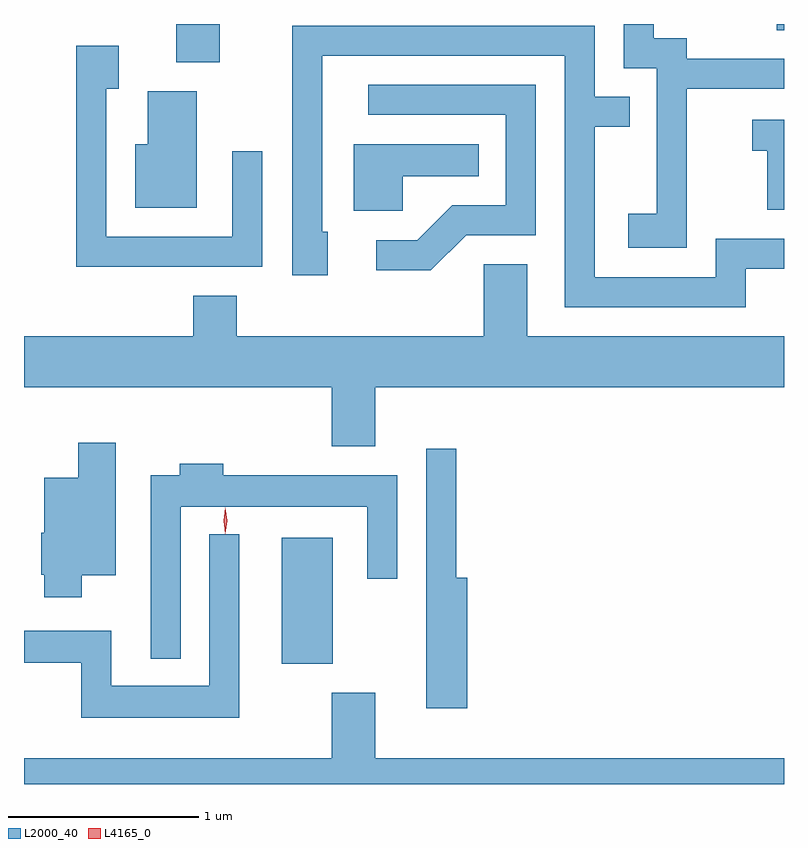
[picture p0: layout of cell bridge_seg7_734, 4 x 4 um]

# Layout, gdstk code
import gdstk
lib = gdstk.Library(unit=1e-6, precision=1e-09)
def R(c, l, rs):  # rectangles x0, y0, x1, y1
    for r in rs: c.add(gdstk.rectangle(r[:2], r[2:], *l))
def P(c, l, *ps):  # polygons
    for p in ps: c.add(gdstk.Polygon(p, *l))
L2000_40 = (2000, 40)
L4165_0 = (4165, 0)

bridge_seg7_734 = lib.new_cell('bridge_seg7_734')
R(bridge_seg7_734, L2000_40, [(619.296,1737.281,619.564,1737.944), (618.741,1740.446,618.969,1740.648), (621.901,1740.616,621.94,1740.648)])
P(bridge_seg7_734, L2000_40, [(621.429,1740.306),(621.94,1740.306),(621.94,1740.464),(621.429,1740.464),(621.429,1740.574),(621.254,1740.574),(621.254,1740.648),(621.096,1740.648),(621.096,1740.416),(621.271,1740.416),(621.271,1739.649),(621.121,1739.649),(621.121,1739.471),(621.429,1739.471)],
  [(621.739,1739.361),(621.94,1739.361),(621.94,1739.519),(621.581,1739.519),(621.581,1739.314),(620.944,1739.314),(620.944,1740.106),(621.128,1740.106),(621.128,1740.264),(620.944,1740.264),(620.944,1740.639),(619.351,1740.639),(619.351,1739.326),(619.539,1739.326),(619.539,1739.554),(619.509,1739.554),(619.509,1740.481),(620.786,1740.481),(620.786,1739.156),(621.739,1739.156)],
  [(619.194,1739.978),(619.036,1739.978),(619.036,1739.529),(618.374,1739.529),(618.374,1740.306),(618.439,1740.306),(618.439,1740.534),(618.216,1740.534),(618.216,1739.371),(619.194,1739.371)],
  [(620.267,1739.536),(620.634,1739.536),(620.634,1740.329),(619.753,1740.329),(619.753,1740.171),(620.476,1740.171),(620.476,1739.694),(620.194,1739.694),(620.009,1739.509),(619.793,1739.509),(619.793,1739.351),(620.082,1739.351)],
  [(618.849,1740.294),(618.591,1740.294),(618.591,1740.014),(618.526,1740.014),(618.526,1739.681),(618.849,1739.681)],
  [(621.94,1740.144),(621.773,1740.144),(621.773,1739.981),(621.851,1739.981),(621.851,1739.671),(621.94,1739.671)],
  [(619.934,1739.846),(620.333,1739.846),(620.333,1740.014),(619.676,1740.014),(619.676,1739.666),(619.934,1739.666)],
  [(619.561,1738.426),(619.789,1738.426),(619.789,1738.736),(621.94,1738.736),(621.94,1739.004),(620.589,1739.004),(620.589,1739.384),(620.361,1739.384),(620.361,1739.004),(619.059,1739.004),(619.059,1739.219),(618.831,1739.219),(618.831,1739.004),(617.94,1739.004),(617.94,1738.736),(619.561,1738.736)],
  [(618.244,1737.746),(618.424,1737.746),(618.424,1738.444),(618.226,1738.444),(618.226,1738.259),(618.046,1738.259),(618.046,1737.97),(618.031,1737.97),(618.031,1737.75),(618.046,1737.75),(618.046,1737.631),(618.244,1737.631)],
  [(620.274,1737.734),(620.214,1737.734),(620.214,1738.413),(620.056,1738.413),(620.056,1737.046),(620.274,1737.046)],
  [(618.764,1738.106),(619.746,1738.106),(619.746,1737.728),(619.904,1737.728),(619.904,1738.274),(618.989,1738.274),(618.989,1738.334),(618.761,1738.334),(618.761,1738.274),(618.606,1738.274),(618.606,1737.308),(618.764,1737.308)],
  [(619.074,1737.963),(618.916,1737.963),(618.916,1737.164),(618.399,1737.164),(618.399,1737.454),(617.94,1737.454),(617.94,1737.286),(618.241,1737.286),(618.241,1736.996),(619.074,1736.996)],
  [(621.94,1736.784),(619.789,1736.784),(619.789,1737.129),(619.561,1737.129),(619.561,1736.784),(617.94,1736.784),(617.94,1736.648),(621.94,1736.648)])
P(bridge_seg7_734, L4165_0, [(618.999,1737.963),(618.998,1737.964),(618.99,1738.033),(618.999,1738.102),(619,1738.103),(619,1738.102),(619.009,1738.033),(618.999,1737.964)])

lib.write_gds('bridge_seg7_734.gds')
